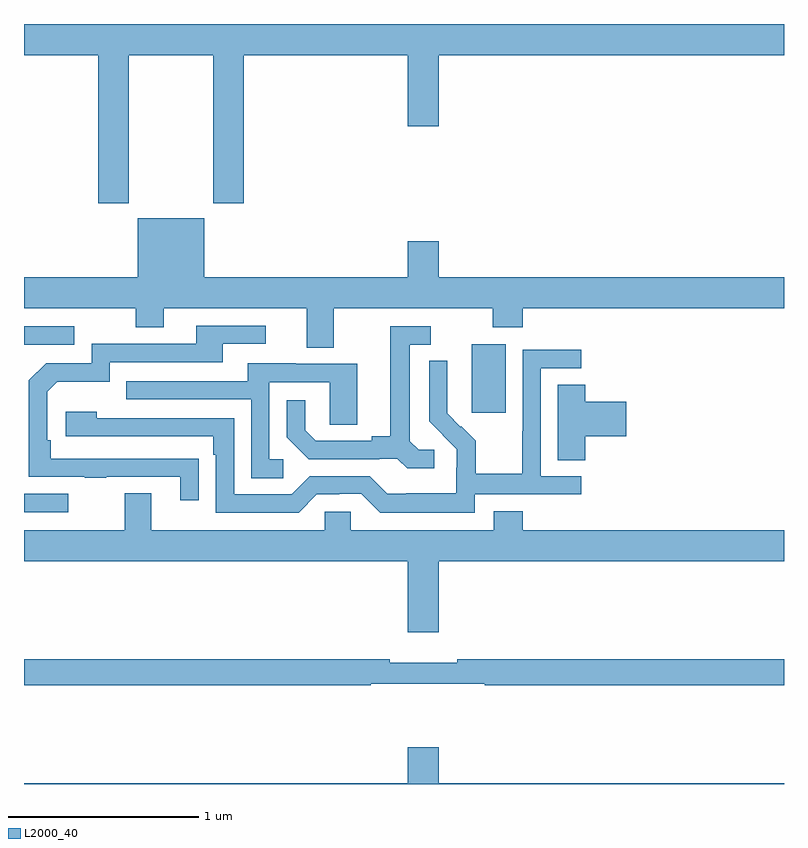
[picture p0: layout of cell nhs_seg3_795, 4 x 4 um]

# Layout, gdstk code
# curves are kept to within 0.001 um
import gdstk
lib = gdstk.Library(unit=1e-6, precision=1e-09)
def R(c, l, rs):  # rectangles x0, y0, x1, y1
    for r in rs: c.add(gdstk.rectangle(r[:2], r[2:], *l))
def P(c, l, *ps):  # polygons
    for p in ps: c.add(gdstk.Polygon(p, *l))
L2000_40 = (2000, 40)

nhs_seg3_795 = lib.new_cell('nhs_seg3_795')
R(nhs_seg3_795, L2000_40, [(151,711.831,151.234,711.927), (153.356,712.353,153.535,712.714), (151,712.713,151.264,712.809)])
P(nhs_seg3_795, L2000_40, [(151.551,714.236),(151.996,714.236),(151.996,713.457),(152.156,713.457),(152.156,714.236),(153.02,714.236),(153.02,713.862),(153.184,713.862),(153.184,714.236),(155,714.236),(155,714.4),(151,714.4),(151,714.236),(151.391,714.236),(151.391,713.457),(151.551,713.457)],
  [(152.629,712.904),(153.466,712.904),(153.466,712.805),(153.626,712.805),(153.626,712.904),(155,712.904),(155,713.068),(153.184,713.068),(153.184,713.257),(153.02,713.257),(153.02,713.068),(151.948,713.068),(151.948,713.377),(151.598,713.377),(151.598,713.068),(151,713.068),(151,712.904),(151.588,712.904),(151.588,712.805),(151.735,712.805),(151.735,712.904),(152.489,712.904),(152.489,712.696),(152.629,712.696)],
  [(151.919,712.112),(151.142,712.113),(151.142,712.21),(151.122,712.21),(151.122,712.464),(151.175,712.517),(151.452,712.517),(151.452,712.62),(152.047,712.62),(152.047,712.716),(152.272,712.716),(152.272,712.812),(151.907,712.812),(151.907,712.716),(151.356,712.716),(151.356,712.614),(151.116,712.614),(151.026,712.524),(151.026,712.017),(151.321,712.017),(151.321,712.012),(151.433,712.012),(151.433,712.017),(151.823,712.017),(151.823,711.894),(151.919,711.894)],
  [(153.16,712.158),(153.078,712.158),(153.031,712.205),(153.031,712.713),(153.142,712.713),(153.142,712.809),(152.927,712.809),(152.927,712.229),(152.831,712.229),(152.831,712.206),(152.536,712.206),(152.479,712.263),(152.479,712.42),(152.382,712.42),(152.382,712.226),(152.498,712.11),(152.87,712.11),(152.87,712.113),(152.964,712.113),(153.016,712.061),(153.16,712.061)],
  [(153.372,711.924),(153.934,711.924),(153.934,712.02),(153.72,712.02),(153.72,712.587),(153.934,712.587),(153.934,712.686),(153.624,712.686),(153.624,712.256),(153.622,712.256),(153.622,712.033),(153.377,712.033),(153.377,712.207),(153.3,712.284),(153.297,712.281),(153.227,712.352),(153.228,712.628),(153.132,712.628),(153.132,712.31),(153.278,712.162),(153.278,712.065),(153.276,712.065),(153.276,711.931),(153.013,711.931),(153.013,711.927),(152.913,711.927),(152.82,712.02),(152.505,712.02),(152.409,711.924),(152.106,711.924),(152.106,712.326),(151.382,712.326),(151.382,712.36),(151.221,712.36),(151.221,712.23),(151.997,712.23),(151.997,712.133),(152.01,712.133),(152.01,711.828),(152.445,711.828),(152.541,711.924),(152.66,711.924),(152.66,711.927),(152.775,711.927),(152.875,711.827),(153.372,711.827)],
  [(152.365,712.11),(152.292,712.11),(152.292,712.515),(152.61,712.515),(152.61,712.291),(152.755,712.291),(152.755,712.611),(152.431,712.611),(152.431,712.615),(152.177,712.615),(152.177,712.521),(151.537,712.521),(151.537,712.425),(152.196,712.425),(152.196,712.009),(152.365,712.009)],
  [(153.953,712.229),(154.171,712.229),(154.171,712.412),(153.953,712.412),(153.953,712.502),(153.809,712.502),(153.809,712.105),(153.953,712.105)],
  [(153.184,711.572),(155,711.572),(155,711.736),(153.626,711.736),(153.626,711.835),(153.473,711.835),(153.473,711.736),(152.721,711.736),(152.721,711.834),(152.583,711.834),(152.583,711.736),(151.669,711.736),(151.669,711.931),(151.529,711.931),(151.529,711.736),(151,711.736),(151,711.572),(153.02,711.572),(153.02,711.198),(153.184,711.198)],
  [(152.824,710.928),(153.424,710.928),(153.424,710.92),(155,710.92),(155,711.056),(153.28,711.056),(153.28,711.037),(152.924,711.037),(152.924,711.056),(151,711.056),(151,710.92),(152.824,710.92)],
  [(155,710.404),(153.184,710.404),(153.184,710.593),(153.02,710.593),(153.02,710.404),(151,710.404),(151,710.4),(155,710.4)])

lib.write_gds('nhs_seg3_795.gds')
